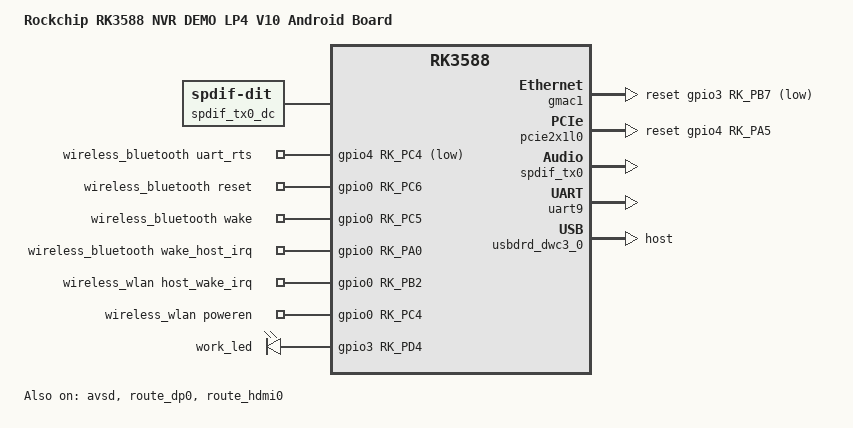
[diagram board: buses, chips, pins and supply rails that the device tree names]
// SPDX-License-Identifier: (GPL-2.0+ OR MIT)
/*
 * Copyright (c) 2021 Rockchip Electronics Co., Ltd.
 * Copyright (c) 2026 The LineageOS Project
 *
 * H96 Max V58. The vendor built it from rk3588-nvr-demo-v10-android.dts;
 * this is that board plus the delta recovered from the stock dtb.
 */

/dts-v1/;

#include "rk3588-nvr-demo.dtsi"
#include "rk3588-android.dtsi"

/ {
	model = "Rockchip RK3588 NVR DEMO LP4 V10 Android Board";
	compatible = "rockchip,rk3588-nvr-demo-v10-android", "rockchip,rk3588";

	spdif_tx0_dc: spdif-tx0-dc {
		status = "okay";
		compatible = "linux,spdif-dit";
		#sound-dai-cells = <0>;
	};

	spdif_tx0_sound: spdif-tx0-sound {
		status = "okay";
		compatible = "simple-audio-card";
		simple-audio-card,name = "rockchip,spdif-tx0";
		simple-audio-card,mclk-fs = <128>;
		simple-audio-card,cpu {
			sound-dai = <&spdif_tx0>;
		};
		simple-audio-card,codec {
			sound-dai = <&spdif_tx0_dc>;
		};
	};

	wireless_bluetooth: wireless-bluetooth {
		compatible = "bluetooth-platdata";
		clocks = <&hym8563>;
		clock-names = "ext_clock";
		uart_rts_gpios = <&gpio4 RK_PC4 GPIO_ACTIVE_LOW>;
		pinctrl-names = "default", "rts_gpio";
		pinctrl-0 = <&uart9m0_rtsn>, <&bt_reset_gpio>, <&bt_wake_gpio>, <&bt_irq_gpio>;
		pinctrl-1 = <&uart9_gpios>;
		BT,reset_gpio    = <&gpio0 RK_PC6 GPIO_ACTIVE_HIGH>;
		BT,wake_gpio     = <&gpio0 RK_PC5 GPIO_ACTIVE_HIGH>;
		BT,wake_host_irq = <&gpio0 RK_PA0 GPIO_ACTIVE_HIGH>;
		status = "okay";
	};

	wireless_wlan: wireless-wlan {
		compatible = "wlan-platdata";
		wifi_chip_type = "ap6275p";
		pinctrl-names = "default";
		pinctrl-0 = <&wifi_host_wake_irq>, <&wifi_poweren_gpio>;
		WIFI,host_wake_irq = <&gpio0 RK_PB2 GPIO_ACTIVE_HIGH>;
		WIFI,poweren_gpio = <&gpio0 RK_PC4 GPIO_ACTIVE_HIGH>;
		status = "okay";
	};
};

&avsd {
	status = "okay";
};

&dp0 {
	status = "disabled";
};

&dp1 {
	status = "disabled";
};

&dp1_in_vp0 {
	status = "disabled";
};

&dp1_in_vp1 {
	status = "disabled";
};

&dp1_sound {
	status = "disabled";
};

&gmac0 {
	status = "disabled";
};

&gmac1 {
	snps,reset-gpio = <&gpio3 RK_PB7 GPIO_ACTIVE_LOW>;
};

&hdmi0_in_vp1 {
	status = "disabled";
};

&hdmi0_in_vp2 {
	status = "disabled";
};

&hdmi1 {
	status = "disabled";
};

&hdmi1_in_vp0 {
	status = "disabled";
};

&hdmi1_in_vp2 {
	status = "disabled";
};

&hdmi1_sound {
	status = "disabled";
};

&hdptxphy_hdmi1 {
	status = "disabled";
};

&hym8563 {
	#clock-cells = <0>;
	clock-frequency = <32768>;
	clock-output-names = "hym8563";
	interrupts = <RK_PD3 IRQ_TYPE_LEVEL_LOW>;
};

&i2c5 {
	status = "disabled";
};

&i2s6_8ch {
	status = "disabled";
};

&pcie2x1l0 {
	reset-gpios = <&gpio4 RK_PA5 GPIO_ACTIVE_HIGH>;
	rockchip,skip-scan-in-resume;
	status = "okay";
};

&pcie30phy {
	status = "disabled";
};

&pcie3x4 {
	status = "disabled";
};

&pwm3 {
	/delete-node/ ir_key1;

	ir_key1 {
		rockchip,usercode = <0x4040>;
		rockchip,key_table =
			<0xf2	KEY_REPLY>,
			<0xbd	KEY_BACK>,
			<0xf4	KEY_UP>,
			<0xf1	KEY_DOWN>,
			<0xef	KEY_LEFT>,
			<0xee	KEY_RIGHT>,
			<0xe5	KEY_HOME>,
			<0xe7	KEY_VOLUMEUP>,
			<0xe8	KEY_VOLUMEDOWN>,
			<0xb2	KEY_POWER>,
			<0xbc	KEY_MUTE>,
			<0xec	KEY_MENU>,
			<0xbf	KEY_YELLOW>,
			<0xe0	KEY_BLUE>,
			<0xe1	KEY_CHANNELUP>,
			<0xe9	KEY_F13>,
			<0xe6	KEY_MICMUTE>,
			<0xe8	KEY_F15>,
			<0xe7	KEY_F16>,
			<0xf0	KEY_TEXT>,
			<0xbe	KEY_MODE>;
	};

	ir_key4 {
		rockchip,usercode = <0xfe01>;
		rockchip,key_table =
			<0xec	KEY_REPLY>,
			<0xe6	KEY_BACK>,
			<0xe9	KEY_UP>,
			<0xe5	KEY_DOWN>,
			<0xae	KEY_LEFT>,
			<0xaf	KEY_RIGHT>,
			<0xee	KEY_HOME>,
			<0xe7	KEY_VOLUMEUP>,
			<0xef	KEY_VOLUMEDOWN>,
			<0xbf	KEY_POWER>,
			<0xbe	KEY_MUTE>,
			<0xb3	KEY_MENU>,
			<0xff	KEY_TEXT>,
			<0xb1	KEY_1>,
			<0xf2	KEY_2>,
			<0xf3	KEY_3>,
			<0xb5	KEY_4>,
			<0xf6	KEY_5>,
			<0xf7	KEY_6>,
			<0xb9	KEY_7>,
			<0xfa	KEY_8>,
			<0xfb	KEY_9>,
			<0xfe	KEY_0>,
			<0x0e	KEY_PAGEUP>,
			<0x0d	KEY_PAGEDOWN>,
			<0xa5	KEY_PLAYPAUSE>,
			<0xbd	KEY_BACKSPACE>,
			<0xbc	KEY_F13>,
			<0xf0	KEY_F16>,
			<0xb4	KEY_PREVIOUS>,
			<0xb8	KEY_A>,
			<0xb0	KEY_NEXT>;
	};

	ir_key5 {
		rockchip,usercode = <0x7f80>;
		rockchip,key_table =
			<0xec	KEY_REPLY>,
			<0xd8	KEY_BACK>,
			<0xc7	KEY_UP>,
			<0xbf	KEY_DOWN>,
			<0xc8	KEY_LEFT>,
			<0xc6	KEY_RIGHT>,
			<0x8c	KEY_HOME>,
			<0x78	KEY_VOLUMEUP>,
			<0x76	KEY_VOLUMEDOWN>,
			<0x7e	KEY_POWER>,
			<0x7c	KEY_MENU>,
			<0xb7	KEY_TEXT>;
	};

	ir_key6 {
		rockchip,usercode = <0xfd01>;
		rockchip,key_table =
			<0x31	KEY_REPLY>,
			<0x2f	KEY_BACK>,
			<0x35	KEY_UP>,
			<0x2d	KEY_DOWN>,
			<0x66	KEY_LEFT>,
			<0x3e	KEY_RIGHT>,
			<0x6a	KEY_HOME>,
			<0x5e	KEY_VOLUMEUP>,
			<0x47	KEY_VOLUMEDOWN>,
			<0x23	KEY_POWER>,
			<0x3a	KEY_TEXT>,
			<0x0d	KEY_F6>;
	};
};

&route_dp0 {
	status = "okay";
	connect = <&vp2_out_dp0>;
	/delete-property/ force-output;
	/delete-node/ force_timing;
};

&route_dp1 {
	status = "disabled";
};

&route_hdmi0 {
	status = "okay";
	logo,mode = "fullscreen";
	connect = <&vp0_out_hdmi0>;
	/delete-property/ force-output;
	/delete-node/ force_timing;
};

&route_hdmi1 {
	status = "disabled";
};

&sata0 {
	status = "disabled";
};

&sata1 {
	status = "disabled";
};

&spdif_tx0 {
	pinctrl-names = "default";
	pinctrl-0 = <&spdif0m1_tx>;
	status = "okay";
};

&spdif_tx5 {
	status = "disabled";
};

&uart9 {
	pinctrl-names = "default";
	pinctrl-0 = <&uart9m0_xfer &uart9m0_ctsn>;
	status = "okay";
};

&usbdrd_dwc3_0 {
	dr_mode = "host";
	extcon = <&u2phy0>;
	status = "okay";
};

&work_led {
	gpios = <&gpio3 RK_PD4 GPIO_ACTIVE_HIGH>;
	default-state = "on";
	/delete-property/ linux,default-trigger;
};

&clk32k_out1 {
	rockchip,pins = <2 RK_PC5 1 &pcfg_pull_up>;
};

&rtc_int {
	rockchip,pins = <0 RK_PD3 RK_FUNC_GPIO &pcfg_pull_up>;
};

&pinctrl {
	pinctrl-names = "default";
	pinctrl-0 = <&clk32k_out1>;

	wireless-bluetooth {
		uart9_gpios: uart9-gpios {
			rockchip,pins = <4 RK_PC4 RK_FUNC_GPIO &pcfg_pull_none>;
		};

		bt_reset_gpio: bt-reset-gpio {
			rockchip,pins = <0 RK_PC6 RK_FUNC_GPIO &pcfg_pull_none>;
		};

		bt_wake_gpio: bt-wake-gpio {
			rockchip,pins = <0 RK_PC5 RK_FUNC_GPIO &pcfg_pull_none>;
		};

		bt_irq_gpio: bt-irq-gpio {
			rockchip,pins = <0 RK_PA0 RK_FUNC_GPIO &pcfg_pull_down>;
		};
	};

	wireless-wlan {
		wifi_host_wake_irq: wifi-host-wake-irq {
			rockchip,pins = <0 RK_PB2 RK_FUNC_GPIO &pcfg_pull_down>;
		};

		wifi_poweren_gpio: wifi-poweren-gpio {
			rockchip,pins = <0 RK_PC4 RK_FUNC_GPIO &pcfg_pull_up>;
		};
	};
};
